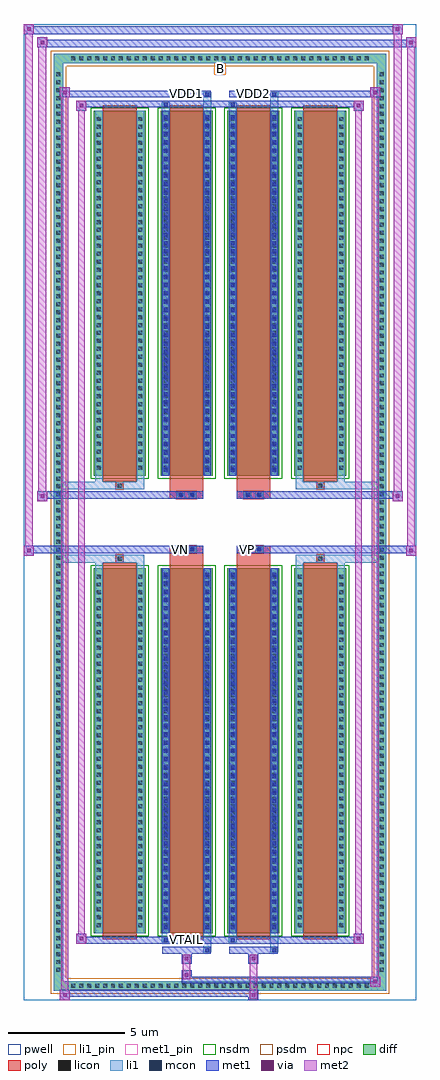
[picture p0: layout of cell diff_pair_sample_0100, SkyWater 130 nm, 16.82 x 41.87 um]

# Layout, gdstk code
import gdstk
lib = gdstk.Library(unit=1e-6, precision=5e-09)
def R(c, l, rs):  # rectangles x0, y0, x1, y1
    for r in rs: c.add(gdstk.rectangle(r[:2], r[2:], *l))
def A(c, l, x, y, w, h, nx, ny, dx, dy):  # array of equal rectangles
    R(c, l, [(x+i*dx, y+j*dy, x+i*dx+w, y+j*dy+h) for i in range(nx) for j in range(ny)])
def P(c, l, *ps):  # polygons
    for p in ps: c.add(gdstk.Polygon(p, *l))
pwell = (64, 44)
diff = (65, 20)
poly = (66, 20)
licon = (66, 44)
li1_pin = (67, 16)
li1 = (67, 20)
mcon = (67, 44)
met1_pin = (68, 16)
met1 = (68, 20)
via = (68, 44)
met2 = (69, 20)
nsdm = (93, 44)
psdm = (94, 20)
npc = (95, 20)

diff_pair_sample_0100 = lib.new_cell('diff_pair_sample_0100')
R(diff_pair_sample_0100, pwell, [(-8.41,-20.5,8.41,21.37), (-5.73,-18.69,-0.01,-0.805), (0.01,-18.69,5.73,-0.805), (-5.73,0.805,-0.01,18.69), (0.01,0.805,5.73,18.69)])
A(diff_pair_sample_0100, diff, -6.495, -20.1, 0.41, 0.41, 38, 2, 0.34, 39.79)
A(diff_pair_sample_0100, diff, -7.14, -19.415, 0.41, 0.41, 1, 114, 0, 0.34)
A(diff_pair_sample_0100, diff, 6.73, -19.415, 0.41, 0.41, 1, 114, 0, 0.34)
A(diff_pair_sample_0100, diff, -5.42, -17.645, 2.23, 15.66, 4, 2, 2.87, 19.63)
R(diff_pair_sample_0100, diff, [(-6.495,-20.1,6.495,-19.69), (-7.14,-19.415,-6.73,19.415), (6.73,-19.415,7.14,19.415), (-6.495,19.69,6.495,20.1)])
P(diff_pair_sample_0100, diff, [(7.14,20.1),(-7.14,20.1),(-7.14,-19.69),(-6.73,-19.69),(-6.73,19.69),(6.73,19.69),(6.73,-19.69),(-6.73,-19.69),(-7.14,-19.69),(-7.14,-20.1),(7.14,-20.1)])
A(diff_pair_sample_0100, poly, -5.03, -17.895, 1.45, 16.16, 4, 2, 2.87, 19.63)
R(diff_pair_sample_0100, poly, [(-4.47,-1.735,-4.14,-1.405), (-4.47,-1.735,-4.14,-1.405), (-2.16,-1.735,-0.71,-1.335), (0.71,-1.735,2.16,-1.335), (4.14,-1.735,4.47,-1.405), (4.14,-1.735,4.47,-1.405), (-2.16,-1.335,-0.71,-1.005), (-1.85,-1.335,-1.52,-1.005), (-1.35,-1.335,-1.02,-1.005), (0.71,-1.335,2.16,-1.005), (1.02,-1.335,1.35,-1.005), (1.52,-1.335,1.85,-1.005), (-2.16,1.005,-0.71,1.335), (-1.85,1.005,-1.52,1.335), (-1.35,1.005,-1.02,1.335), (0.71,1.005,2.16,1.335), (1.02,1.005,1.35,1.335), (1.52,1.005,1.85,1.335), (-2.16,1.335,-0.71,1.735), (0.71,1.335,2.16,1.735), (-4.47,1.405,-4.14,1.735), (-4.47,1.405,-4.14,1.735), (4.14,1.405,4.47,1.735), (4.14,1.405,4.47,1.735)])
A(diff_pair_sample_0100, licon, -6.375, -19.98, 0.17, 0.17, 38, 2, 0.34, 39.79)
A(diff_pair_sample_0100, licon, -7.02, -19.295, 0.17, 0.17, 1, 114, 0, 0.34)
A(diff_pair_sample_0100, licon, 6.85, -19.295, 0.17, 0.17, 1, 114, 0, 0.34)
A(diff_pair_sample_0100, licon, -5.28, -17.38, 0.17, 0.17, 1, 45, 0, 0.34)
A(diff_pair_sample_0100, licon, -3.5, -17.38, 0.17, 0.17, 1, 45, 0, 0.34)
A(diff_pair_sample_0100, licon, -2.41, -17.38, 0.17, 0.17, 1, 45, 0, 0.34)
A(diff_pair_sample_0100, licon, -0.63, -17.38, 0.17, 0.17, 1, 45, 0, 0.34)
A(diff_pair_sample_0100, licon, 0.46, -17.38, 0.17, 0.17, 1, 45, 0, 0.34)
A(diff_pair_sample_0100, licon, 2.24, -17.38, 0.17, 0.17, 1, 45, 0, 0.34)
A(diff_pair_sample_0100, licon, 3.33, -17.38, 0.17, 0.17, 1, 45, 0, 0.34)
A(diff_pair_sample_0100, licon, 5.11, -17.38, 0.17, 0.17, 1, 45, 0, 0.34)
A(diff_pair_sample_0100, licon, -5.28, 2.25, 0.17, 0.17, 1, 45, 0, 0.34)
A(diff_pair_sample_0100, licon, -3.5, 2.25, 0.17, 0.17, 1, 45, 0, 0.34)
A(diff_pair_sample_0100, licon, -2.41, 2.25, 0.17, 0.17, 1, 45, 0, 0.34)
A(diff_pair_sample_0100, licon, -0.63, 2.25, 0.17, 0.17, 1, 45, 0, 0.34)
A(diff_pair_sample_0100, licon, 0.46, 2.25, 0.17, 0.17, 1, 45, 0, 0.34)
A(diff_pair_sample_0100, licon, 2.24, 2.25, 0.17, 0.17, 1, 45, 0, 0.34)
A(diff_pair_sample_0100, licon, 3.33, 2.25, 0.17, 0.17, 1, 45, 0, 0.34)
A(diff_pair_sample_0100, licon, 5.11, 2.25, 0.17, 0.17, 1, 45, 0, 0.34)
R(diff_pair_sample_0100, licon, [(-4.39,-1.655,-4.22,-1.485), (4.22,-1.655,4.39,-1.485), (-1.77,-1.255,-1.6,-1.085), (-1.27,-1.255,-1.1,-1.085), (1.1,-1.255,1.27,-1.085), (1.6,-1.255,1.77,-1.085), (-1.77,1.085,-1.6,1.255), (-1.27,1.085,-1.1,1.255), (1.1,1.085,1.27,1.255), (1.6,1.085,1.77,1.255), (-4.39,1.485,-4.22,1.655), (4.22,1.485,4.39,1.655)])
R(diff_pair_sample_0100, li1_pin, [(-0.25,19.19,0.25,19.69)])
A(diff_pair_sample_0100, li1, -6.455, -20.06, 0.33, 0.33, 38, 2, 0.34, 39.79)
A(diff_pair_sample_0100, li1, -7.1, -19.375, 0.33, 0.33, 1, 114, 0, 0.34)
A(diff_pair_sample_0100, li1, 6.77, -19.375, 0.33, 0.33, 1, 114, 0, 0.34)
A(diff_pair_sample_0100, li1, -5.36, -17.46, 0.33, 0.33, 1, 45, 0, 0.34)
A(diff_pair_sample_0100, li1, -3.58, -17.46, 0.33, 0.33, 1, 45, 0, 0.34)
A(diff_pair_sample_0100, li1, -2.49, -17.46, 0.33, 0.33, 1, 45, 0, 0.34)
A(diff_pair_sample_0100, li1, -2.41, -17.46, 0.17, 0.17, 1, 43, 0, 0.36)
A(diff_pair_sample_0100, li1, -0.71, -17.46, 0.33, 0.33, 1, 45, 0, 0.34)
A(diff_pair_sample_0100, li1, -0.63, -17.46, 0.17, 0.17, 1, 43, 0, 0.36)
A(diff_pair_sample_0100, li1, 0.38, -17.46, 0.33, 0.33, 1, 45, 0, 0.34)
A(diff_pair_sample_0100, li1, 0.46, -17.46, 0.17, 0.17, 1, 43, 0, 0.36)
A(diff_pair_sample_0100, li1, 2.16, -17.46, 0.33, 0.33, 1, 45, 0, 0.34)
A(diff_pair_sample_0100, li1, 2.24, -17.46, 0.17, 0.17, 1, 43, 0, 0.36)
A(diff_pair_sample_0100, li1, 3.25, -17.46, 0.33, 0.33, 1, 45, 0, 0.34)
A(diff_pair_sample_0100, li1, 5.03, -17.46, 0.33, 0.33, 1, 45, 0, 0.34)
A(diff_pair_sample_0100, li1, -5.36, 2.17, 0.33, 0.33, 1, 45, 0, 0.34)
A(diff_pair_sample_0100, li1, -3.58, 2.17, 0.33, 0.33, 1, 45, 0, 0.34)
A(diff_pair_sample_0100, li1, -2.49, 2.17, 0.33, 0.33, 1, 45, 0, 0.34)
A(diff_pair_sample_0100, li1, -2.41, 2.17, 0.17, 0.17, 1, 43, 0, 0.36)
A(diff_pair_sample_0100, li1, -0.71, 2.17, 0.33, 0.33, 1, 45, 0, 0.34)
A(diff_pair_sample_0100, li1, -0.63, 2.17, 0.17, 0.17, 1, 43, 0, 0.36)
A(diff_pair_sample_0100, li1, 0.38, 2.17, 0.33, 0.33, 1, 45, 0, 0.34)
A(diff_pair_sample_0100, li1, 0.46, 2.17, 0.17, 0.17, 1, 43, 0, 0.36)
A(diff_pair_sample_0100, li1, 2.16, 2.17, 0.33, 0.33, 1, 45, 0, 0.34)
A(diff_pair_sample_0100, li1, 2.24, 2.17, 0.17, 0.17, 1, 43, 0, 0.36)
A(diff_pair_sample_0100, li1, 3.25, 2.17, 0.33, 0.33, 1, 45, 0, 0.34)
A(diff_pair_sample_0100, li1, 5.03, 2.17, 0.33, 0.33, 1, 45, 0, 0.34)
R(diff_pair_sample_0100, li1, [(-7.14,-20.1,-6.73,-19.69), (-7.14,-20.1,-6.73,-19.69), (-6.73,-20.1,6.73,-19.69), (6.73,-20.1,7.14,-19.69), (6.73,-20.1,7.14,-19.69), (-7.14,-19.69,-6.73,19.69), (6.73,-19.69,7.14,19.69), (-0.71,-18.45,-0.38,-17.645), (-0.63,-18.45,-0.46,-18.28), (2.16,-18.45,2.49,-17.645), (2.24,-18.45,2.41,-18.28), (-2.49,-18.02,-2.16,-17.645), (-2.41,-18.02,-2.24,-17.85), (0.38,-18.02,0.71,-17.645), (0.46,-18.02,0.63,-17.85), (-5.36,-17.645,-5.03,-1.985), (-3.58,-17.645,-3.25,-1.985), (-2.49,-17.645,-2.16,-1.985), (-0.71,-17.645,-0.38,-1.985), (0.38,-17.645,0.71,-1.985), (2.16,-17.645,2.49,-1.985), (3.25,-17.645,3.58,-1.985), (5.03,-17.645,5.36,-1.985), (-2.41,-17.46,-2.24,-2.17), (-0.63,-17.46,-0.46,-2.17), (0.46,-17.46,0.63,-2.17), (2.24,-17.46,2.41,-2.17), (-5.36,-1.985,-5.03,-1.405), (-3.58,-1.985,-3.25,-1.405), (3.25,-1.985,3.58,-1.405), (5.03,-1.985,5.36,-1.405), (-7.14,-1.735,-4.47,-1.405), (-5.36,-1.735,-4.47,-1.405), (-4.47,-1.735,-4.14,-1.405), (-4.14,-1.735,-3.25,-1.405), (3.25,-1.735,4.14,-1.405), (4.14,-1.735,4.47,-1.405), (4.14,-1.735,7.14,-1.405), (4.47,-1.735,5.36,-1.405), (-1.85,-1.335,-1.52,-1.005), (-1.35,-1.335,-1.02,-1.005), (1.02,-1.335,1.35,-1.005), (1.52,-1.335,1.85,-1.005), (-1.85,1.005,-1.52,1.335), (-1.35,1.005,-1.02,1.335), (1.02,1.005,1.35,1.335), (1.52,1.005,1.85,1.335), (-7.14,1.405,-4.47,1.735), (-5.36,1.405,-4.47,1.735), (-5.36,1.405,-5.03,1.985), (-4.47,1.405,-4.14,1.735), (-4.14,1.405,-3.25,1.735), (-3.58,1.405,-3.25,1.985), (3.25,1.405,4.14,1.735), (3.25,1.405,3.58,1.985), (4.14,1.405,4.47,1.735), (4.14,1.405,7.14,1.735), (4.47,1.405,5.36,1.735), (5.03,1.405,5.36,1.985), (-5.36,1.985,-5.03,17.645), (-3.58,1.985,-3.25,17.645), (-2.49,1.985,-2.16,17.645), (-0.71,1.985,-0.38,17.645), (0.38,1.985,0.71,17.645), (2.16,1.985,2.49,17.645), (3.25,1.985,3.58,17.645), (5.03,1.985,5.36,17.645), (-2.41,2.17,-2.24,17.46), (-0.63,2.17,-0.46,17.46), (0.46,2.17,0.63,17.46), (2.24,2.17,2.41,17.46), (-2.49,17.645,-2.16,18.02), (-0.71,17.645,-0.38,18.45), (0.38,17.645,0.71,18.02), (2.16,17.645,2.49,18.45), (-2.41,17.85,-2.24,18.02), (0.46,17.85,0.63,18.02), (-0.63,18.28,-0.46,18.45), (2.24,18.28,2.41,18.45), (-7.14,19.69,-6.73,20.1), (-7.14,19.69,-6.73,20.1), (-6.73,19.69,6.73,20.1), (6.73,19.69,7.14,20.1), (6.73,19.69,7.14,20.1)])
A(diff_pair_sample_0100, mcon, -2.41, -17.46, 0.17, 0.17, 1, 43, 0, 0.36)
A(diff_pair_sample_0100, mcon, -0.63, -17.46, 0.17, 0.17, 1, 43, 0, 0.36)
A(diff_pair_sample_0100, mcon, 0.46, -17.46, 0.17, 0.17, 1, 43, 0, 0.36)
A(diff_pair_sample_0100, mcon, 2.24, -17.46, 0.17, 0.17, 1, 43, 0, 0.36)
A(diff_pair_sample_0100, mcon, -2.41, 2.17, 0.17, 0.17, 1, 43, 0, 0.36)
A(diff_pair_sample_0100, mcon, -0.63, 2.17, 0.17, 0.17, 1, 43, 0, 0.36)
A(diff_pair_sample_0100, mcon, 0.46, 2.17, 0.17, 0.17, 1, 43, 0, 0.36)
A(diff_pair_sample_0100, mcon, 2.24, 2.17, 0.17, 0.17, 1, 43, 0, 0.36)
R(diff_pair_sample_0100, mcon, [(-0.63,-18.45,-0.46,-18.28), (2.24,-18.45,2.41,-18.28), (-2.41,-18.02,-2.24,-17.85), (0.46,-18.02,0.63,-17.85), (-1.77,-1.255,-1.6,-1.085), (-1.27,-1.255,-1.1,-1.085), (1.1,-1.255,1.27,-1.085), (1.6,-1.255,1.77,-1.085), (-1.77,1.085,-1.6,1.255), (-1.27,1.085,-1.1,1.255), (1.1,1.085,1.27,1.255), (1.6,1.085,1.77,1.255), (-2.41,17.85,-2.24,18.02), (0.46,17.85,0.63,18.02), (-0.63,18.28,-0.46,18.45), (2.24,18.28,2.41,18.45)])
R(diff_pair_sample_0100, met1_pin, [(-1.57,-18.06,-1.3,-17.79), (-1.82,-1.295,-1.55,-1.025), (1.05,-1.295,1.32,-1.025), (-1.57,18.24,-1.3,18.51), (1.3,18.24,1.57,18.51)])
A(diff_pair_sample_0100, met1, -2.47, -17.52, 0.29, 0.29, 1, 43, 0, 0.36)
A(diff_pair_sample_0100, met1, -0.69, -17.52, 0.29, 0.29, 1, 43, 0, 0.36)
A(diff_pair_sample_0100, met1, 0.4, -17.52, 0.29, 0.29, 1, 43, 0, 0.36)
A(diff_pair_sample_0100, met1, 2.18, -17.52, 0.29, 0.29, 1, 43, 0, 0.36)
A(diff_pair_sample_0100, met1, -2.47, 2.11, 0.29, 0.29, 1, 43, 0, 0.36)
A(diff_pair_sample_0100, met1, -0.69, 2.11, 0.29, 0.29, 1, 43, 0, 0.36)
A(diff_pair_sample_0100, met1, 0.4, 2.11, 0.29, 0.29, 1, 43, 0, 0.36)
A(diff_pair_sample_0100, met1, 2.18, 2.11, 0.29, 0.29, 1, 43, 0, 0.36)
R(diff_pair_sample_0100, met1, [(-6.87,-20.5,-6.44,-20.07), (1.22,-20.5,1.65,-20.07), (-6.87,-20.36,1.65,-20.07), (6.44,-19.93,6.87,-19.5), (-1.65,-19.79,6.87,-19.5), (-1.65,-19.65,-1.22,-19.22), (-1.65,-18.94,-1.22,-18.51), (1.22,-18.94,1.65,-18.51), (-2.47,-18.51,-0.4,-18.22), (-0.69,-18.51,-0.4,-18.22), (0.4,-18.51,2.47,-18.22), (2.18,-18.51,2.47,-18.22), (-6.16,-18.08,-5.73,-17.65), (-6.16,-18.08,-2.47,-17.79), (-2.47,-18.08,-2.18,-17.79), (-2.47,-18.08,-0.4,-17.79), (-0.4,-18.08,0.4,-17.79), (0.4,-18.08,0.69,-17.79), (0.4,-18.08,2.47,-17.79), (2.47,-18.08,6.16,-17.79), (5.73,-18.08,6.16,-17.65), (-2.47,-17.645,-2.18,-1.985), (-0.69,-17.645,-0.4,-1.985), (0.4,-17.645,0.69,-1.985), (2.18,-17.645,2.47,-1.985), (-8.41,-1.435,-7.98,-1.005), (7.98,-1.435,8.41,-1.005), (-8.41,-1.335,-0.71,-1.005), (-2.16,-1.335,-0.71,-1.005), (0.71,-1.335,2.16,-1.005), (0.71,-1.335,8.41,-1.005), (-1.83,-1.315,-1.54,-1.025), (-1.33,-1.315,-1.04,-1.025), (1.04,-1.315,1.33,-1.025), (1.54,-1.315,1.83,-1.025), (-7.84,0.905,-7.41,1.335), (7.41,0.905,7.84,1.335), (-7.84,1.005,-2.16,1.335), (-2.16,1.005,-0.71,1.335), (0.71,1.005,2.16,1.335), (2.16,1.005,7.84,1.335), (-1.83,1.025,-1.54,1.315), (-1.33,1.025,-1.04,1.315), (1.04,1.025,1.33,1.315), (1.54,1.025,1.83,1.315), (-2.47,1.985,-2.18,17.645), (-0.69,1.985,-0.4,17.645), (0.4,1.985,0.69,17.645), (2.18,1.985,2.47,17.645), (-6.16,17.65,-5.73,18.08), (5.73,17.65,6.16,18.08), (-6.16,17.79,-2.47,18.08), (-2.47,17.79,-2.18,18.08), (-2.47,17.79,-0.4,18.08), (-0.4,17.79,0.4,18.08), (0.4,17.79,0.69,18.08), (0.4,17.79,2.47,18.08), (2.47,17.79,6.16,18.08), (-6.87,18.22,-6.44,18.65), (-6.87,18.22,-2.47,18.51), (-2.47,18.22,-0.4,18.51), (-0.69,18.22,-0.4,18.51), (0.4,18.22,2.47,18.51), (2.18,18.22,2.47,18.51), (2.47,18.22,6.87,18.51), (6.44,18.22,6.87,18.65), (-7.84,20.37,-7.41,20.8), (-7.84,20.37,-5.73,20.7), (-5.73,20.37,5.73,20.7), (5.73,20.37,8.41,20.7), (7.98,20.37,8.41,20.8), (-8.41,20.94,-7.98,21.37), (-8.41,20.94,-5.73,21.27), (-5.73,20.94,5.73,21.27), (5.73,20.94,7.84,21.27), (7.41,20.94,7.84,21.37)])
R(diff_pair_sample_0100, via, [(-6.73,-20.36,-6.58,-20.21), (1.36,-20.36,1.51,-20.21), (6.58,-19.79,6.73,-19.64), (-1.51,-19.51,-1.36,-19.36), (-1.51,-18.8,-1.36,-18.65), (1.36,-18.8,1.51,-18.65), (-6.02,-17.94,-5.87,-17.79), (5.87,-17.94,6.02,-17.79), (-8.27,-1.295,-8.12,-1.145), (8.12,-1.295,8.27,-1.145), (-7.7,1.045,-7.55,1.195), (7.55,1.045,7.7,1.195), (-6.02,17.79,-5.87,17.94), (5.87,17.79,6.02,17.94), (-6.73,18.36,-6.58,18.51), (6.58,18.36,6.73,18.51), (-7.7,20.51,-7.55,20.66), (8.12,20.51,8.27,20.66), (-8.27,21.08,-8.12,21.23), (7.55,21.08,7.7,21.23)])
R(diff_pair_sample_0100, met2, [(-6.87,-20.5,-6.44,-20.07), (-6.8,-20.5,-6.51,18.65), (-6.51,-20.5,-6.44,-20.07), (-6.82,-20.45,-6.49,-20.12), (1.27,-20.45,1.6,-20.12), (1.27,-20.12,1.6,-18.89), (6.44,-19.93,6.87,-19.5), (6.51,-19.93,6.8,18.65), (6.8,-19.93,6.87,-19.5), (6.49,-19.88,6.82,-19.55), (-1.6,-19.6,-1.27,-19.27), (-1.6,-19.27,-1.27,-18.89), (-1.6,-18.89,-1.27,-18.56), (1.27,-18.89,1.6,-18.56), (-6.16,-18.08,-5.73,-17.65), (-6.09,-18.08,-5.8,18.08), (-5.8,-18.08,-5.73,-17.65), (5.73,-18.08,6.16,-17.65), (5.8,-18.08,6.09,18.08), (6.09,-18.08,6.16,-17.65), (-6.11,-18.03,-5.78,-17.7), (5.78,-18.03,6.11,-17.7), (-8.41,-1.435,-7.98,-1.005), (-8.36,-1.435,-8.03,21.37), (-8.03,-1.435,-7.98,-1.005), (7.98,-1.435,8.41,-1.005), (8.03,-1.435,8.36,20.8), (8.36,-1.435,8.41,-1.005), (-8.36,-1.385,-8.03,-1.055), (8.03,-1.385,8.36,-1.055), (-7.84,0.905,-7.41,1.335), (-7.79,0.905,-7.46,20.8), (-7.46,0.905,-7.41,1.335), (7.41,0.905,7.84,1.335), (7.46,0.905,7.79,21.37), (7.79,0.905,7.84,1.335), (-7.79,0.955,-7.46,1.285), (7.46,0.955,7.79,1.285), (-6.16,17.65,-5.73,18.08), (-5.8,17.65,-5.73,18.08), (5.73,17.65,6.16,18.08), (6.09,17.65,6.16,18.08), (-6.11,17.7,-5.78,18.03), (5.78,17.7,6.11,18.03), (-6.87,18.22,-6.44,18.65), (-6.51,18.22,-6.44,18.65), (6.44,18.22,6.87,18.65), (6.8,18.22,6.87,18.65), (-6.82,18.27,-6.49,18.6), (6.49,18.27,6.82,18.6), (-7.84,20.37,-7.41,20.8), (-7.46,20.37,-7.41,20.8), (7.98,20.37,8.41,20.8), (8.36,20.37,8.41,20.8), (-7.79,20.42,-7.46,20.75), (8.03,20.42,8.36,20.75), (-8.41,20.94,-7.98,21.37), (-8.03,20.94,-7.98,21.37), (7.41,20.94,7.84,21.37), (7.79,20.94,7.84,21.37), (-8.36,20.99,-8.03,21.32), (7.46,20.99,7.79,21.32)])
A(diff_pair_sample_0100, nsdm, -5.55, -17.775, 2.49, 15.92, 4, 2, 2.87, 19.63)
P(diff_pair_sample_0100, psdm, [(7.27,20.23),(-7.27,20.23),(-7.27,-19.56),(-6.6,-19.56),(-6.6,19.56),(6.6,19.56),(6.6,-19.56),(-6.6,-19.56),(-7.27,-19.56),(-7.27,-20.23),(7.27,-20.23)])
R(diff_pair_sample_0100, npc, [(-4.49,-1.755,-4.12,-1.385), (4.12,-1.755,4.49,-1.385), (-1.87,-1.355,-1.5,-0.985), (-1.87,-1.355,-1,-0.985), (-1.87,-1.355,-1,-0.985), (-1.37,-1.355,-1,-0.985), (1,-1.355,1.37,-0.985), (1,-1.355,1.87,-0.985), (1,-1.355,1.87,-0.985), (1.5,-1.355,1.87,-0.985), (-1.87,0.985,-1.5,1.355), (-1.87,0.985,-1,1.355), (-1.87,0.985,-1,1.355), (-1.37,0.985,-1,1.355), (1,0.985,1.37,1.355), (1,0.985,1.87,1.355), (1,0.985,1.87,1.355), (1.5,0.985,1.87,1.355), (-4.49,1.385,-4.12,1.755), (4.12,1.385,4.49,1.755)])
diff_pair_sample_0100.add(gdstk.Label('VTAIL', (-1.435,-17.925), layer=68, texttype=5))
diff_pair_sample_0100.add(gdstk.Label('VN', (-1.685,-1.16), layer=68, texttype=5))
diff_pair_sample_0100.add(gdstk.Label('VP', (1.185,-1.16), layer=68, texttype=5))
diff_pair_sample_0100.add(gdstk.Label('B', (0,19.44), layer=67, texttype=5))
diff_pair_sample_0100.add(gdstk.Label('VDD2', (1.435,18.375), layer=68, texttype=5))
diff_pair_sample_0100.add(gdstk.Label('VDD1', (-1.435,18.375), layer=68, texttype=5))

lib.write_gds('diff_pair_sample_0100.gds')
